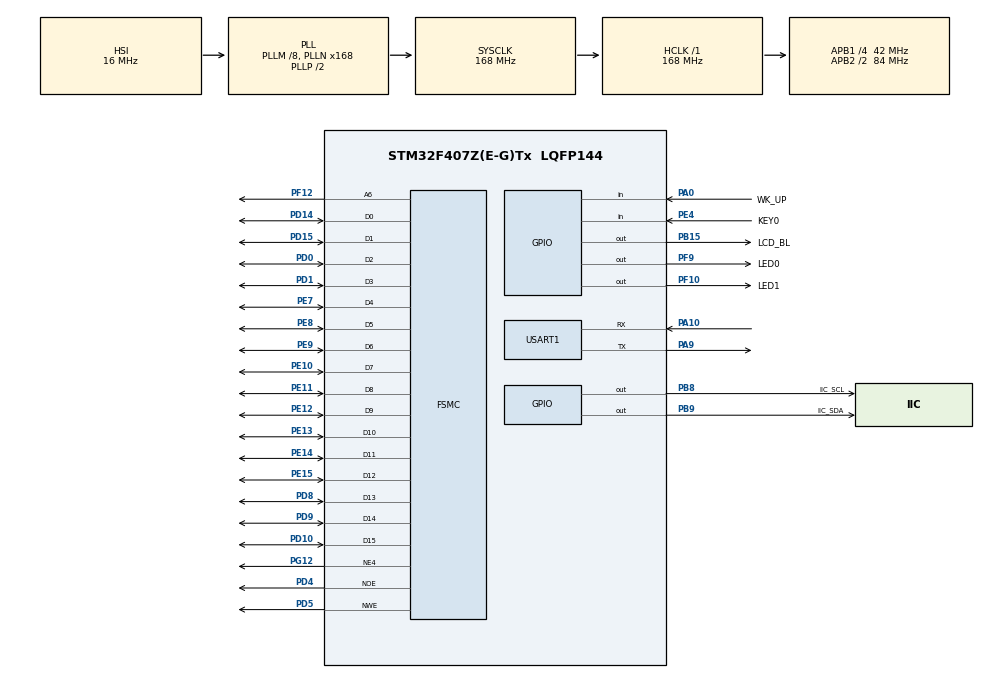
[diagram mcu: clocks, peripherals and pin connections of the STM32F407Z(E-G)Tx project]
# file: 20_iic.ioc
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FSMC.AddressSetupTime1=15
FSMC.BusTurnAroundDuration1=0
FSMC.DataSetupTime1=60
FSMC.ExtendedAddressSetupTime1=9
FSMC.ExtendedBusTurnAroundDuration1=0
FSMC.ExtendedDataSetupTime1=9
FSMC.ExtendedMode1=FSMC_EXTENDED_MODE_ENABLE
Mcu.Family=STM32F4
Mcu.Name=STM32F407Z(E-G)Tx
Mcu.Package=LQFP144
NVIC.PriorityGroup=NVIC_PRIORITYGROUP_2
NVIC.USART1_IRQn=true\:2\:2\:true\:false\:true\:true\:true\:true
PA0-WKUP.GPIO_Label=WK_UP
PA0-WKUP.GPIO_PuPd=GPIO_PULLDOWN
PA0-WKUP.Signal=GPIO_Input
PA10.GPIO_PuPd=GPIO_PULLUP
PA10.Mode=Asynchronous
PA10.Signal=USART1_RX
PA13.Mode=Serial_Wire
PA13.Signal=SYS_JTMS-SWDIO
PA14.Mode=Serial_Wire
PA14.Signal=SYS_JTCK-SWCLK
PA9.GPIO_PuPd=GPIO_PULLUP
PA9.Mode=Asynchronous
PA9.Signal=USART1_TX
PB15.GPIO_Label=LCD_BL
PB15.GPIO_PuPd=GPIO_PULLUP
PB15.GPIO_Speed=GPIO_SPEED_FREQ_VERY_HIGH
PB15.PinState=GPIO_PIN_SET
PB15.Signal=GPIO_Output
PB8.GPIO_Label=IIC_SCL
PB8.GPIO_PuPd=GPIO_NOPULL
PB8.GPIO_Speed=GPIO_SPEED_FREQ_VERY_HIGH
PB8.PinState=GPIO_PIN_SET
PB8.Signal=GPIO_Output
PB9.GPIO_Label=IIC_SDA
PB9.GPIO_Speed=GPIO_SPEED_FREQ_VERY_HIGH
PB9.PinState=GPIO_PIN_SET
PB9.Signal=GPIO_Output
PC14-OSC32_IN.Mode=LSE-External-Oscillator
PC14-OSC32_IN.Signal=RCC_OSC32_IN
PC15-OSC32_OUT.Mode=LSE-External-Oscillator
PC15-OSC32_OUT.Signal=RCC_OSC32_OUT
PD0.Signal=FSMC_D2_DA2
PD1.Signal=FSMC_D3_DA3
PD10.Signal=FSMC_D15_DA15
PD14.Signal=FSMC_D0_DA0
PD15.Signal=FSMC_D1_DA1
PD4.Signal=FSMC_NOE
PD5.Signal=FSMC_NWE
PD8.Signal=FSMC_D13_DA13
PD9.Signal=FSMC_D14_DA14
PE10.Signal=FSMC_D7_DA7
PE11.Signal=FSMC_D8_DA8
PE12.Signal=FSMC_D9_DA9
PE13.Signal=FSMC_D10_DA10
PE14.Signal=FSMC_D11_DA11
PE15.Signal=FSMC_D12_DA12
PE4.GPIO_Label=KEY0
PE4.GPIO_PuPd=GPIO_PULLDOWN
PE4.Signal=GPIO_Input
PE7.Signal=FSMC_D4_DA4
PE8.Signal=FSMC_D5_DA5
PE9.Signal=FSMC_D6_DA6
PF10.GPIO_Label=LED1
PF10.GPIO_PuPd=GPIO_PULLDOWN
PF10.GPIO_Speed=GPIO_SPEED_FREQ_VERY_HIGH
PF10.PinState=GPIO_PIN_SET
PF10.Signal=GPIO_Output
PF12.Signal=FSMC_A6
PF9.GPIO_Label=LED0
PF9.GPIO_PuPd=GPIO_PULLDOWN
PF9.GPIO_Speed=GPIO_SPEED_FREQ_VERY_HIGH
PF9.PinState=GPIO_PIN_SET
PF9.Signal=GPIO_Output
PG12.Mode=NorPsramChipSelect4_1
PG12.Signal=FSMC_NE4
PH0-OSC_IN.Mode=HSE-External-Oscillator
PH0-OSC_IN.Signal=RCC_OSC_IN
PH1-OSC_OUT.Mode=HSE-External-Oscillator
PH1-OSC_OUT.Signal=RCC_OSC_OUT
ProjectManager.HeapSize=0x200
ProjectManager.StackSize=0x400
ProjectManager.TargetToolchain=STM32CubeIDE
RCC.48MHZClocksFreq_Value=84000000
RCC.AHBFreq_Value=168000000
RCC.APB1CLKDivider=RCC_HCLK_DIV4
RCC.APB1Freq_Value=42000000
RCC.APB1TimFreq_Value=84000000
RCC.APB2CLKDivider=RCC_HCLK_DIV2
RCC.APB2Freq_Value=84000000
RCC.APB2TimFreq_Value=168000000
RCC.CortexFreq_Value=168000000
RCC.HCLKFreq_Value=168000000
RCC.HSE_VALUE=25000000
RCC.HSI_VALUE=16000000
RCC.PLLM=8
RCC.PLLN=168
RCC.SYSCLKFreq_VALUE=168000000
RCC.SYSCLKSource=RCC_SYSCLKSOURCE_PLLCLK
RCC.VCOOutputFreq_Value=336000000
SH.FSMC_A6.0=FSMC_A6,A6_1
SH.FSMC_D0_DA0.0=FSMC_D0,16b-d1
SH.FSMC_D10_DA10.0=FSMC_D10,16b-d1
SH.FSMC_D11_DA11.0=FSMC_D11,16b-d1
SH.FSMC_D12_DA12.0=FSMC_D12,16b-d1
SH.FSMC_D13_DA13.0=FSMC_D13,16b-d1
SH.FSMC_D14_DA14.0=FSMC_D14,16b-d1
SH.FSMC_D15_DA15.0=FSMC_D15,16b-d1
SH.FSMC_D1_DA1.0=FSMC_D1,16b-d1
SH.FSMC_D2_DA2.0=FSMC_D2,16b-d1
SH.FSMC_D3_DA3.0=FSMC_D3,16b-d1
SH.FSMC_D4_DA4.0=FSMC_D4,16b-d1
SH.FSMC_D5_DA5.0=FSMC_D5,16b-d1
SH.FSMC_D6_DA6.0=FSMC_D6,16b-d1
SH.FSMC_D7_DA7.0=FSMC_D7,16b-d1
SH.FSMC_D8_DA8.0=FSMC_D8,16b-d1
SH.FSMC_D9_DA9.0=FSMC_D9,16b-d1
SH.FSMC_NOE.0=FSMC_NOE,Lcd1
SH.FSMC_NWE.0=FSMC_NWE,Lcd1
USART1.VirtualMode=VM_ASYNC
board=custom

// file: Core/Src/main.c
/* USER CODE BEGIN Header */
/**
 ****************************************************************************************************
 * @file        main.c
 * @author      ALIENTEK
 * @brief       IIC code
 * @license     Copyright (C) 2020-2032, ALIENTEK
 ****************************************************************************************************
 * @attention
 *
 * platform     : ALIENTEK M144-STM32F407 board
 * website      : https://www.alientek.com
 * forum        : http://www.openedv.com/forum.php
 *
 * change logs  :
 * version    data    notes
 * V1.0     20240410  the first version
 *
 ****************************************************************************************************
 */
/* USER CODE END Header */
#include "main.h"
#include "usart.h"
#include "gpio.h"
#include "fsmc.h"

/* USER CODE BEGIN Includes */
#include "../../BSP/LED/led.h"
#include "../../BSP/KEY/key.h"
#include "../../BSP/LCD/lcd.h"
#include "../../BSP/24CXX/24cxx.h"
#include "../../SYSTEM/delay/delay.h"
/* USER CODE END Includes */

/* USER CODE BEGIN PTD */

static const uint8_t g_text_buf[] = {"STM32 IIC TEST"};
#define TEXT_SIZE sizeof(g_text_buf)

/* USER CODE END PTD */

void SystemClock_Config(void);

int main(void)
{
  /* USER CODE BEGIN 1 */
    uint8_t t = 0;
    uint8_t key;
    uint8_t data[TEXT_SIZE];
  /* USER CODE END 1 */

  /* MCU Configuration--------------------------------------------------------*/

  /* Reset of all peripherals, Initializes the Flash interface and the Systick. */
  HAL_Init();

  /* Configure the system clock */
  SystemClock_Config();

  /* USER CODE BEGIN SysInit */
  delay_init(168);
  /* USER CODE END SysInit */

  /* Initialize all configured peripherals */
  MX_GPIO_Init();
  MX_USART1_UART_Init();
  MX_FSMC_Init();
  /* USER CODE BEGIN 2 */

  lcd_init();
  at24cxx_init();

  lcd_show_string(30, 50, 200, 16, 16, "STM32", RED);
  lcd_show_string(30, 70, 200, 16, 16, "IIC TEST", RED);
  lcd_show_string(30, 90, 200, 16, 16, "ATOM@ALIENTEK", RED);

  lcd_show_string(30, 110, 200, 16, 16, "WK_UP:Write KEY0:Read", RED);

  /* Check whether AT24CXX is normal */
  while (at24cxx_check() != 0)
  {
      lcd_show_string(30, 130, 200, 16, 16, "24C02 Check Failed!", RED);
      delay_ms(500);
      lcd_show_string(30, 130, 200, 16, 16, "Please Check!      ", RED);
      delay_ms(500);
      LED0_TOGGLE();
  }
  lcd_show_string(30, 130, 200, 16, 16, "24C02 Ready!       ", RED);

  /* USER CODE END 2 */

  /* Infinite loop */
  while (1)
  {

      key = key_scan(0);
      if (key == WKUP_PRES)
      {
    	  /* Write data to AT24CXX */
          lcd_fill(0, 150, 239, 319, WHITE);
          lcd_show_string(30, 150, 200, 16, 16, "Start Write 24C02....", BLUE);
          at24cxx_write(0, (uint8_t *)g_text_buf, TEXT_SIZE);
          lcd_show_string(30, 150, 200, 16, 16, "24C02 Write Finished!", BLUE);
      }
      else if (key == KEY0_PRES)
      {
    	  /* Read data from AT24CXX */
          lcd_show_string(30, 150, 200, 16, 16, "Start Read 24C02.... ", BLUE);
          at24cxx_read(0, data, TEXT_SIZE);
          lcd_show_string(30, 150, 200, 16, 16, "The Data Readed Is:  ", BLUE);
          lcd_show_string(30, 170, 200, 16, 16, (char *)data, BLUE);
      }

      if (++t == 20)
      {
          t = 0;
          LED0_TOGGLE();
      }

      HAL_Delay(10);

  }
}

void SystemClock_Config(void)
{
  RCC_OscInitTypeDef RCC_OscInitStruct = {0};
  RCC_ClkInitTypeDef RCC_ClkInitStruct = {0};

  /** Configure the main internal regulator output voltage
  */
  __HAL_RCC_PWR_CLK_ENABLE();
  __HAL_PWR_VOLTAGESCALING_CONFIG(PWR_REGULATOR_VOLTAGE_SCALE1);

  /** Initializes the RCC Oscillators according to the specified parameters
  * in the RCC_OscInitTypeDef structure.
  */
  RCC_OscInitStruct.OscillatorType = RCC_OSCILLATORTYPE_HSI;
  RCC_OscInitStruct.HSIState = RCC_HSI_ON;
  RCC_OscInitStruct.HSICalibrationValue = RCC_HSICALIBRATION_DEFAULT;
  RCC_OscInitStruct.PLL.PLLState = RCC_PLL_ON;
  RCC_OscInitStruct.PLL.PLLSource = RCC_PLLSOURCE_HSI;
  RCC_OscInitStruct.PLL.PLLM = 8;
  RCC_OscInitStruct.PLL.PLLN = 168;
  RCC_OscInitStruct.PLL.PLLP = RCC_PLLP_DIV2;
  RCC_OscInitStruct.PLL.PLLQ = 4;
  if (HAL_RCC_OscConfig(&RCC_OscInitStruct) != HAL_OK)
  {
    Error_Handler();
  }

  /** Initializes the CPU, AHB and APB buses clocks
  */
  RCC_ClkInitStruct.ClockType = RCC_CLOCKTYPE_HCLK|RCC_CLOCKTYPE_SYSCLK
                              |RCC_CLOCKTYPE_PCLK1|RCC_CLOCKTYPE_PCLK2;
  RCC_ClkInitStruct.SYSCLKSource = RCC_SYSCLKSOURCE_PLLCLK;
  RCC_ClkInitStruct.AHBCLKDivider = RCC_SYSCLK_DIV1;
  RCC_ClkInitStruct.APB1CLKDivider = RCC_HCLK_DIV4;
  RCC_ClkInitStruct.APB2CLKDivider = RCC_HCLK_DIV2;

  if (HAL_RCC_ClockConfig(&RCC_ClkInitStruct, FLASH_LATENCY_5) != HAL_OK)
  {
    Error_Handler();
  }
}

void Error_Handler(void)
{
  __disable_irq();
  while (1)
  {
  }
}
